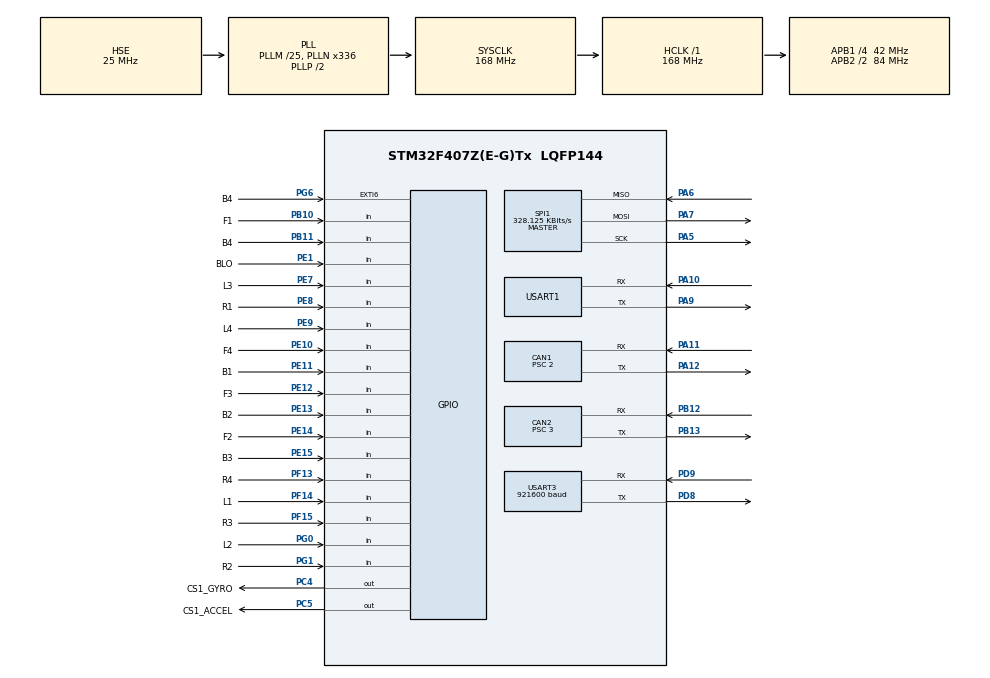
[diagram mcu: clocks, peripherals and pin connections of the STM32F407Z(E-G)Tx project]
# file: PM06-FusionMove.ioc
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CAN1.BS1=CAN_BS1_16TQ
CAN1.BS2=CAN_BS2_4TQ
CAN1.CalculateBaudRate=1000000
CAN1.CalculateTimeBit=1000
CAN1.CalculateTimeQuantum=47.61904761904762
CAN1.Prescaler=2
CAN2.ABOM=ENABLE
CAN2.BS1=CAN_BS1_12TQ
CAN2.CalculateBaudRate=1000000
CAN2.CalculateTimeBit=1000
CAN2.CalculateTimeQuantum=71.42857142857143
CAN2.Prescaler=3
Dma.Request0=USART3_RX
Dma.Request1=USART3_TX
Dma.Request2=USART1_RX
Dma.Request3=USART1_TX
Dma.USART1_RX.2.Direction=DMA_PERIPH_TO_MEMORY
Dma.USART1_RX.2.FIFOMode=DMA_FIFOMODE_DISABLE
Dma.USART1_RX.2.Instance=DMA2_Stream2
Dma.USART1_RX.2.MemDataAlignment=DMA_MDATAALIGN_BYTE
Dma.USART1_RX.2.MemInc=DMA_MINC_ENABLE
Dma.USART1_RX.2.Mode=DMA_CIRCULAR
Dma.USART1_RX.2.PeriphDataAlignment=DMA_PDATAALIGN_BYTE
Dma.USART1_RX.2.PeriphInc=DMA_PINC_DISABLE
Dma.USART1_RX.2.Priority=DMA_PRIORITY_LOW
Dma.USART1_TX.3.Direction=DMA_MEMORY_TO_PERIPH
Dma.USART1_TX.3.FIFOMode=DMA_FIFOMODE_DISABLE
Dma.USART1_TX.3.Instance=DMA2_Stream7
Dma.USART1_TX.3.MemDataAlignment=DMA_MDATAALIGN_BYTE
Dma.USART1_TX.3.MemInc=DMA_MINC_ENABLE
Dma.USART1_TX.3.Mode=DMA_NORMAL
Dma.USART1_TX.3.PeriphDataAlignment=DMA_PDATAALIGN_BYTE
Dma.USART1_TX.3.PeriphInc=DMA_PINC_DISABLE
Dma.USART1_TX.3.Priority=DMA_PRIORITY_LOW
Dma.USART3_RX.0.Direction=DMA_PERIPH_TO_MEMORY
Dma.USART3_RX.0.FIFOMode=DMA_FIFOMODE_DISABLE
Dma.USART3_RX.0.Instance=DMA1_Stream1
Dma.USART3_RX.0.MemDataAlignment=DMA_MDATAALIGN_BYTE
Dma.USART3_RX.0.MemInc=DMA_MINC_ENABLE
Dma.USART3_RX.0.Mode=DMA_NORMAL
Dma.USART3_RX.0.PeriphDataAlignment=DMA_PDATAALIGN_BYTE
Dma.USART3_RX.0.PeriphInc=DMA_PINC_DISABLE
Dma.USART3_RX.0.Priority=DMA_PRIORITY_LOW
Dma.USART3_TX.1.Direction=DMA_MEMORY_TO_PERIPH
Dma.USART3_TX.1.FIFOMode=DMA_FIFOMODE_DISABLE
Dma.USART3_TX.1.Instance=DMA1_Stream3
Dma.USART3_TX.1.MemDataAlignment=DMA_MDATAALIGN_BYTE
Dma.USART3_TX.1.MemInc=DMA_MINC_ENABLE
Dma.USART3_TX.1.Mode=DMA_NORMAL
Dma.USART3_TX.1.PeriphDataAlignment=DMA_PDATAALIGN_BYTE
Dma.USART3_TX.1.PeriphInc=DMA_PINC_DISABLE
Dma.USART3_TX.1.Priority=DMA_PRIORITY_LOW
Mcu.Family=STM32F4
Mcu.Name=STM32F407Z(E-G)Tx
Mcu.Package=LQFP144
NVIC.CAN1_RX0_IRQn=true\:0\:0\:false\:false\:true\:true\:true\:true
NVIC.CAN1_TX_IRQn=true\:0\:0\:false\:false\:true\:true\:true\:true
NVIC.CAN2_RX0_IRQn=true\:0\:0\:false\:false\:true\:true\:true\:true
NVIC.CAN2_TX_IRQn=true\:0\:0\:false\:false\:true\:true\:true\:true
NVIC.DMA1_Stream1_IRQn=true\:0\:0\:false\:false\:true\:false\:true\:true
NVIC.DMA1_Stream3_IRQn=true\:0\:0\:false\:false\:true\:false\:true\:true
NVIC.DMA2_Stream2_IRQn=true\:0\:0\:false\:false\:true\:false\:true\:true
NVIC.DMA2_Stream7_IRQn=true\:0\:0\:false\:false\:true\:false\:true\:true
NVIC.PriorityGroup=NVIC_PRIORITYGROUP_4
NVIC.TIM1_TRG_COM_TIM11_IRQn=true\:0\:0\:false\:false\:true\:true\:true\:true
NVIC.TIM1_UP_TIM10_IRQn=true\:0\:0\:false\:false\:true\:true\:true\:true
NVIC.TIM8_BRK_TIM12_IRQn=true\:0\:0\:true\:false\:true\:true\:true\:true
NVIC.TIM8_UP_TIM13_IRQn=true\:0\:0\:true\:false\:true\:true\:true\:true
NVIC.USART1_IRQn=true\:0\:0\:false\:false\:true\:true\:true\:true
NVIC.USART3_IRQn=true\:0\:0\:false\:false\:true\:true\:true\:true
PA10.Mode=Asynchronous
PA10.Signal=USART1_RX
PA11.Mode=CAN_Activate
PA11.Signal=CAN1_RX
PA12.Mode=CAN_Activate
PA12.Signal=CAN1_TX
PA13.Mode=Serial_Wire
PA13.Signal=SYS_JTMS-SWDIO
PA14.Mode=Serial_Wire
PA14.Signal=SYS_JTCK-SWCLK
PA5.Mode=Full_Duplex_Master
PA5.Signal=SPI1_SCK
PA6.Mode=Full_Duplex_Master
PA6.Signal=SPI1_MISO
PA7.Mode=Full_Duplex_Master
PA7.Signal=SPI1_MOSI
PA9.Mode=Asynchronous
PA9.Signal=USART1_TX
PB10.GPIO_Label=F1
PB10.Signal=GPIO_Input
PB11.GPIO_Label=B4
PB11.Signal=GPIO_Input
PB12.Mode=CAN_Activate
PB12.Signal=CAN2_RX
PB13.Mode=CAN_Activate
PB13.Signal=CAN2_TX
PC4.GPIO_Label=CS1_GYRO
PC4.Signal=GPIO_Output
PC5.GPIO_Label=CS1_ACCEL
PC5.Signal=GPIO_Output
PD8.Mode=Asynchronous
PD8.Signal=USART3_TX
PD9.Mode=Asynchronous
PD9.Signal=USART3_RX
PE1.GPIO_Label=BLO
PE1.GPIO_PuPd=GPIO_PULLDOWN
PE1.Signal=GPIO_Input
PE10.GPIO_Label=F4
PE10.Signal=GPIO_Input
PE11.GPIO_Label=B1
PE11.Signal=GPIO_Input
PE12.GPIO_Label=F3
PE12.Signal=GPIO_Input
PE13.GPIO_Label=B2
PE13.Signal=GPIO_Input
PE14.GPIO_Label=F2
PE14.Signal=GPIO_Input
PE15.GPIO_Label=B3
PE15.Signal=GPIO_Input
PE7.GPIO_Label=L3
PE7.Signal=GPIO_Input
PE8.GPIO_Label=R1
PE8.Signal=GPIO_Input
PE9.GPIO_Label=L4
PE9.Signal=GPIO_Input
PF13.GPIO_Label=R4
PF13.Signal=GPIO_Input
PF14.GPIO_Label=L1
PF14.Signal=GPIO_Input
PF15.GPIO_Label=R3
PF15.Signal=GPIO_Input
PG0.GPIO_Label=L2
PG0.Signal=GPIO_Input
PG1.GPIO_Label=R2
PG1.Signal=GPIO_Input
PG6.GPIO_Label=B4
PG6.Signal=GPXTI6
PH0-OSC_IN.Mode=HSE-External-Oscillator
PH0-OSC_IN.Signal=RCC_OSC_IN
PH1-OSC_OUT.Mode=HSE-External-Oscillator
PH1-OSC_OUT.Signal=RCC_OSC_OUT
ProjectManager.HeapSize=0x200
ProjectManager.StackSize=0x400
ProjectManager.TargetToolchain=MDK-ARM V5.32
RCC.48MHZClocksFreq_Value=84000000
RCC.AHBFreq_Value=168000000
RCC.APB1CLKDivider=RCC_HCLK_DIV4
RCC.APB1Freq_Value=42000000
RCC.APB1TimFreq_Value=84000000
RCC.APB2CLKDivider=RCC_HCLK_DIV2
RCC.APB2Freq_Value=84000000
RCC.APB2TimFreq_Value=168000000
RCC.CortexFreq_Value=168000000
RCC.HCLKFreq_Value=168000000
RCC.HSE_VALUE=25000000
RCC.HSI_VALUE=16000000
RCC.LSE_VALUE=32768
RCC.PLLM=25
RCC.PLLN=336
RCC.PLLSourceVirtual=RCC_PLLSOURCE_HSE
RCC.SYSCLKFreq_VALUE=168000000
RCC.SYSCLKSource=RCC_SYSCLKSOURCE_PLLCLK
RCC.VCOOutputFreq_Value=336000000
SPI1.BaudRatePrescaler=SPI_BAUDRATEPRESCALER_256
SPI1.CLKPhase=SPI_PHASE_2EDGE
SPI1.CLKPolarity=SPI_POLARITY_HIGH
SPI1.CalculateBaudRate=328.125 KBits/s
SPI1.Direction=SPI_DIRECTION_2LINES
SPI1.Mode=SPI_MODE_MASTER
SPI1.VirtualType=VM_MASTER
TIM10.Period=5000-1
TIM10.Prescaler=168-1
TIM11.Period=1000-1
TIM11.Prescaler=168-1
TIM12.Period=10000-1
TIM12.Prescaler=168-1
TIM13.Period=50000-1
TIM13.Prescaler=1680-1
TIM2.Period=1000-1
TIM2.Prescaler=168-1
USART1.VirtualMode=VM_ASYNC
USART3.BaudRate=921600
USART3.VirtualMode=VM_ASYNC
VP_TIM10_VS_ClockSourceINT.Mode=Enable_Timer
VP_TIM11_VS_ClockSourceINT.Mode=Enable_Timer
VP_TIM12_VS_ClockSourceINT.Mode=Internal
VP_TIM13_VS_ClockSourceINT.Mode=Enable_Timer
VP_TIM2_VS_ClockSourceINT.Mode=Internal
board=custom

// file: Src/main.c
/* USER CODE BEGIN Header */
/**
  ******************************************************************************
  * @file           : main.c
  * @brief          : Main program body
  ******************************************************************************
  * @attention
  *
  * Copyright (c) 2023 STMicroelectronics.
  * All rights reserved.
  *
  * This software is licensed under terms that can be found in the LICENSE file
  * in the root directory of this software component.
  * If no LICENSE file comes with this software, it is provided AS-IS.
  *
  ******************************************************************************
  */
/* USER CODE END Header */
#include "main.h"
#include "can.h"
#include "dma.h"
#include "spi.h"
#include "tim.h"
#include "usart.h"
#include "gpio.h"

/* USER CODE BEGIN Includes */
#include "motor_control.h"
#include "PosLock.h"
#include "BMI088driver.h"
#include "KalmanFilter.h"
#include "AngleLock.h"
#include "Liner.h"
#include "bsp-protocol.h"
#include "lk_bsp_can.h"
#include "MS40X.h"
#include "math.h"
#include <stdio.h>
#include <string.h>
/* USER CODE END Includes */

/* USER CODE BEGIN PD */
#define mode_flag  2 		//0:主动输出模式   1:查询输出模式    2:级联模式
#define pi 3.1415926
#define StardardSpeed 11000
#define SlowStardardSpeed 6000  //处理特殊情况时的速度
#define INIT_DEGREE 5500        //别忘了bsp-protocol里还有一样的define
/* USER CODE END PD */

/* USER CODE BEGIN PV */
int32_t set_spd = 2000;
uint8_t DirFlag=0;

float dis1,dis2,dis3,dis4=0;

uint8_t TOF_ID = 1;			//仅用作级联时更改查询命令
uint8_t u_tx_buf[8] = {0x57,0x10,0xff,0xff,0x00,0xff,0xff,0x63};  //查询命令
uint8_t u_rx_buf[400];

uint32_t TOF_data_length=0;		//DMA接收数据长度
void TOFRefresh(void);

uint8_t flag=0;
uint8_t SlowSpeedFlag = 0;
//int32_t set_spd = normspeed;
int32_t tar = 90;
fp32 gyro[3], accel[3], temp;
double yaw=0;
float timeflag=0;
EularAngle_t EularAngle ={
	.yaw=0,
	.pitch=0,
	.roll=0
};
Liner_t Liner ={
	.left=0,
	.right=0,
	.front=0,
	.back=0,
};
Speed_t Speed={
	.speedx=0,
	.speedy=0,
	.speedw=0,
};
Speed_t speedcum={
  .speedx=0,
  .speedy=0,
  .speedw=0,
};
void Front(void);
void Back(void);
void Right(void);
void Left(void);
void AdpSpeedCon(char dir);
void SpeedCumulativeRun(Speed_t *speed,Liner_t *liner,char dir);
void SlowSpeedCumulativeRun(Speed_t *speed,Liner_t *liner,char dir);
void SpeedCumulativeBreak(Speed_t *speed,Liner_t *liner,char dir,char block);
void SlowSpeedCumulativeBreak(Speed_t *speed,Liner_t *liner,char dir,char block);
void SpeedCumulativeCirCle(Speed_t *speed,char dir,char nextdir,char block);
uint32_t TOFSignalFlag(char dir);
char InvDir(char dir);
uint8_t RuntoBreakFlag(char dir);
float BreaktoChangeFlag(char dir);
char map[400];
//char map[]="F0L0B0L0F0L0F0R0F1R0B0L0R0F0L0F0R0F1L0R0B1L0F0L0F0B0R1B0L2B0F0L0B0L1F0B0L0B1R0B0F0L0F0L0B1R0L0F0R1F1L0F0R0L0B0R0F0R0F0L0F0L0B0L0B2S0";
//char map[]="F2S0";'S'
//char map[]="FLS";
//char map_temp[]={"FF00LL00BB00LL00FF00LL00FF00RR20FF00RR20BB20RR00BB00LL20LL00RR00FF00LL02FF02LL00BB02FL20SS00"};
//------------------------------------------------|1-----------------------
//1号情况
//char map[]="BB00LR20SS00SS";
//2号情况
//char map[]="RR00LF00SS00SS";
//3号情况
//char map[]="LL00FB40SS00SS";
//4号情况
//char map[]="FF60LL20RB20SS00SS";
//5号情况
//char map[]="RR00LF00SS00SS";

char *RunFrame			=	map;
char *MapFrame			=	map+1;
char *BlockFrame		=	map+2;
char *ChangeDis			=	map+3;
char *NextMapFrame	=	map+4;

uint8_t left[4]={0};
uint8_t right[4]={0};
uint8_t front[4]={0};
uint8_t back[4]={0};
uint8_t PauseBlockFlag = 0;//暂停标志位
uint32_t AskNum = 0;//停止状态计数
uint32_t InitNum = 0;//初始状态计数
uint32_t tempRoadNum = 0;
uint32_t tempRoadNumNext = 0;

typedef enum
{
	MOTION_INIT=0,
	MOTION_START,
	MOTION_RUN,
	MOTION_BREAK,
	MOTION_CIRCLE,//圆弧插补
  MOTION_CHANGE,//换向状态
  MOTION_STOP,//停止状态
	MOTION_PAUSE,//暂停状态
}MOTION_STATE;
volatile double run2offflag=0;
volatile double changeflag=0;
volatile uint32_t startspeed=0;
MOTION_STATE MotionState = MOTION_INIT;
//MOTION_STATE MotionState = MOTION_OFFSET;

uint16_t motionflag=0;
/* USER CODE END PV */

void SystemClock_Config(void);

int main(void)
{

  /* MCU Configuration--------------------------------------------------------*/

  /* Reset of all peripherals, Initializes the Flash interface and the Systick. */
  HAL_Init();

  /* Configure the system clock */
  SystemClock_Config();

  /* Initialize all configured peripherals */
  MX_GPIO_Init();
  MX_DMA_Init();
  MX_SPI1_Init();
  MX_TIM10_Init();
  MX_CAN1_Init();
  MX_TIM11_Init();
  MX_USART3_UART_Init();
  MX_TIM2_Init();
  MX_TIM12_Init();
  MX_TIM13_Init();
  MX_CAN2_Init();
  MX_USART1_UART_Init();
  /* USER CODE BEGIN 2 */

//	/**@Communication */
	CommReceiveInit();

//	/**@IMU */
	while(BMI088_init()){};

//	/**@Motor */
	motor_init_4p();

//	/**@TOFSense */
	//while(!(dis1||dis2||dis3||dis4)){};

//	/**@GreyScaleSensor */
	LineRead(&Liner);

//  /**@MS4005 */
	vApp_User_CAN_Configuration();

//	strncpy(map,map_temp,strlen(map_temp));
	__HAL_TIM_CLEAR_IT(&htim10,TIM_IT_UPDATE);
	__HAL_TIM_CLEAR_IT(&htim11,TIM_IT_UPDATE);
	__HAL_TIM_CLEAR_IT(&htim12,TIM_IT_UPDATE);
	__HAL_TIM_CLEAR_IT(&htim13,TIM_IT_UPDATE);
	HAL_TIM_Base_Start_IT(&htim10);
	HAL_TIM_Base_Start_IT(&htim11);
	HAL_Delay(3000);
	HAL_TIM_Base_Start_IT(&htim12);
	HAL_TIM_Base_Start_IT(&htim13);
	__HAL_UART_ENABLE_IT(&huart3,UART_IT_IDLE);
	PlatformConAbsAng(INIT_DEGREE);

//	MotionState=MOTION_STOP;
////转换test
//	RoadsNumUpper = 3;

//	发送test
//	CheckTreasureFlag = 1;
  /* USER CODE END 2 */

  /* Infinite loop */
  while (1)
  {

    /* USER CODE BEGIN 3 */
	  protocol_analysis();

  }
  /* USER CODE END 3 */
}

void SystemClock_Config(void)
{
  RCC_OscInitTypeDef RCC_OscInitStruct = {0};
  RCC_ClkInitTypeDef RCC_ClkInitStruct = {0};

  /** Configure the main internal regulator output voltage
  */
  __HAL_RCC_PWR_CLK_ENABLE();
  __HAL_PWR_VOLTAGESCALING_CONFIG(PWR_REGULATOR_VOLTAGE_SCALE1);

  /** Initializes the RCC Oscillators according to the specified parameters
  * in the RCC_OscInitTypeDef structure.
  */
  RCC_OscInitStruct.OscillatorType = RCC_OSCILLATORTYPE_HSE;
  RCC_OscInitStruct.HSEState = RCC_HSE_ON;
  RCC_OscInitStruct.PLL.PLLState = RCC_PLL_ON;
  RCC_OscInitStruct.PLL.PLLSource = RCC_PLLSOURCE_HSE;
  RCC_OscInitStruct.PLL.PLLM = 25;
  RCC_OscInitStruct.PLL.PLLN = 336;
  RCC_OscInitStruct.PLL.PLLP = RCC_PLLP_DIV2;
  RCC_OscInitStruct.PLL.PLLQ = 4;
  if (HAL_RCC_OscConfig(&RCC_OscInitStruct) != HAL_OK)
  {
    Error_Handler();
  }

  /** Initializes the CPU, AHB and APB buses clocks
  */
  RCC_ClkInitStruct.ClockType = RCC_CLOCKTYPE_HCLK|RCC_CLOCKTYPE_SYSCLK
                              |RCC_CLOCKTYPE_PCLK1|RCC_CLOCKTYPE_PCLK2;
  RCC_ClkInitStruct.SYSCLKSource = RCC_SYSCLKSOURCE_PLLCLK;
  RCC_ClkInitStruct.AHBCLKDivider = RCC_SYSCLK_DIV1;
  RCC_ClkInitStruct.APB1CLKDivider = RCC_HCLK_DIV4;
  RCC_ClkInitStruct.APB2CLKDivider = RCC_HCLK_DIV2;

  if (HAL_RCC_ClockConfig(&RCC_ClkInitStruct, FLASH_LATENCY_5) != HAL_OK)
  {
    Error_Handler();
  }
}

/* USER CODE BEGIN 4 */
void HAL_TIM_PeriodElapsedCallback(TIM_HandleTypeDef *htim)
{
	if(htim->Instance == TIM10)//200Hz
	{
		TOFRefresh();
	}
	if(htim->Instance == TIM11)//1000Hz
	{
		BMI088_read(gyro, accel, &temp);
		EularAngle.accel[0]=accel[0];
		EularAngle.accel[1]=accel[1];
		EularAngle.accel[2]=accel[2];
		EularAngle.gyro[0]=gyro[0];
		EularAngle.gyro[1]=gyro[1];
		EularAngle.gyro[2]=gyro[2];
		YawSolve(&EularAngle);
		if(MotionState!=MOTION_INIT) yaw=EularAngle.yaw;
		LineRead(&Liner);
	}
	if(htim->Instance == TIM12)//100Hz
	{
		// 运动状态机
    switch (MotionState)
    {
      case MOTION_INIT://起始状态
      {
        // 执行200次
        motionflag++;

        if(motionflag>200 && RoadInfoFinishFlag == 1)//路段信息接收完成
        {
					EularAngle.yaw=0;
          motionflag=0;
          MotionState=MOTION_RUN;
        }
        break;
      }
		case MOTION_START://起始状态
    {
				if(*MapFrame=='L')
				{
					if(abs(Speed.speedy)>=SlowStardardSpeed || dis4<150+185*(*BlockFrame-'0'+1))
					{
						Speed.speedx=0;
						MotionState=MOTION_RUN;
					}
					Speed.speedx=-0;
					Speed.speedy-=200;
				}
				if(*MapFrame=='R')
				{
					if(abs(Speed.speedy)>=SlowStardardSpeed || dis2<150+185*(*BlockFrame-'0'+1))
					{
						Speed.speedx=0;
						MotionState=MOTION_RUN;
					}
					Speed.speedx=-0;
					Speed.speedy+=200;
				}
				break;
    }
    case MOTION_RUN://运动状态
    {
			RoadInfoFinishFlag = 0;		//路段信息接收完成标志位归零
//			if(SlowSpeedFlag==1)
//			{
//				SlowSpeedCumulativeRun(&speedcum,&Liner,*MapFrame);
//			}
//			else
//			{
//				SpeedCumulativeRun(&speedcum,&Liner,*MapFrame);
//			}
//			Speed.speedx=speedcum.speedx;
//			Speed.speedy=speedcum.speedy;
			//下面这个值在圆弧插补中加入了状态为4的情况，mark
			if((RuntoBreakFlag(*MapFrame)==0 || RuntoBreakFlag(*MapFrame)==4 || RuntoBreakFlag(*MapFrame)==11 || RuntoBreakFlag(*MapFrame)==12 )
				)//判断是否需要刹车
			{
				MotionState=MOTION_BREAK;

			}
			break;
    }
    case MOTION_BREAK://刹车状态
    {
//			if(SlowSpeedFlag==1)
//			{
//				SlowSpeedCumulativeBreak(&speedcum,&Liner,*MapFrame,*BlockFrame);
//			}
//			else
//			{
//				SpeedCumulativeBreak(&speedcum,&Liner,*MapFrame,*BlockFrame);
//			}
			SpeedCumulativeBreak(&speedcum,&Liner,*MapFrame,*BlockFrame);
			Speed.speedx=speedcum.speedx;
			Speed.speedy=speedcum.speedy;//之前的一格现在变成两格了！记得改！
//----------------------------------------8月1日版本--------------------------------------------------------------------------------------------------
//		  if(*NextMapFrame!='S' &&
////			if(*NextMapFrame!='S' && (*BlockFrame - '0') < 4 &&
//					(RuntoBreakFlag(*MapFrame)==0 || RuntoBreakFlag(*MapFrame)==4 || RuntoBreakFlag(*MapFrame)==11 || RuntoBreakFlag(*MapFrame)==12) &&
//					BreaktoChangeFlag(*MapFrame)<125+185*(*BlockFrame-'0'+1) &&
//					BreaktoChangeFlag(*MapFrame)>25+185*(*BlockFrame-'0'+1) &&
//			(InvDir(*NextMapFrame)!=*MapFrame && *NextMapFrame!=*MapFrame))//判断是否需要换向
//			{
//				MotionState=MOTION_CIRCLE;
//			}
//			//长距直接跳过圆弧
//			if( (*NextMapFrame=='S' || ((*ChangeDis) - '0') >= 8 ) &&
////			if( (*NextMapFrame=='S' || ((*ChangeDis) - '0') >= 8 || (*BlockFrame - '0') >= 6) &&
////			if( (*NextMapFrame=='S' || ((*ChangeDis) - '0') >= 6) &&
//					(RuntoBreakFlag(*MapFrame)==0 || RuntoBreakFlag(*MapFrame)==4 || RuntoBreakFlag(*MapFrame)==11 || RuntoBreakFlag(*MapFrame)==12) &&
//					BreaktoChangeFlag(*MapFrame)<150+185*(*BlockFrame-'0'))
//			{
//				MotionState=MOTION_CHANGE;
//			}
//			//180度换向或者下一步前进时不改变方向的两种情况下直接跳过圆弧插补
//			if(*NextMapFrame!='S' &&
//				(RuntoBreakFlag(*MapFrame)==0 || RuntoBreakFlag(*MapFrame)==4 || RuntoBreakFlag(*MapFrame)==11 || RuntoBreakFlag(*MapFrame)==12) &&
//			(InvDir(*NextMapFrame)==*MapFrame || *NextMapFrame==*MapFrame) &&
//			BreaktoChangeFlag(*MapFrame)<150+185*(*BlockFrame-'0'))
//			{
//				MotionState=MOTION_CHANGE;
//			}
//----------------------------------------8月1日版本end-----------------------------------------------------------------------------------------------

//----------------------------------------长距跳过圆弧版本---------------------------------------------------------------------------------------------

			//=====================圆弧插补============================
			if(*NextMapFrame!='S' && (*BlockFrame - '0') < 6 && (*ChangeDis - '0') < 6 &&
					(RuntoBreakFlag(*MapFrame)==0 || RuntoBreakFlag(*MapFrame)==4 || RuntoBreakFlag(*MapFrame)==11 || RuntoBreakFlag(*MapFrame)==12) &&
					TOFSignalFlag(*MapFrame)>2 &&
					BreaktoChangeFlag(*MapFrame)<125+185*(*BlockFrame-'0'+1) &&
					BreaktoChangeFlag(*MapFrame)>10+185*(*BlockFrame-'0'+1) &&
					(InvDir(*NextMapFrame)!=*MapFrame && *NextMapFrame!=*MapFrame) &&
					*RunFrame == *MapFrame
				)//(排除掉撞击的情况)判断是否需要换向
			{
				SlowSpeedFlag = 0;//将慢速标志位归零
				MotionState=MOTION_CIRCLE;
			}

//			//长距直接跳过圆弧
//			if( (*NextMapFrame=='S' || ((*ChangeDis) - '0') >= 8 ) &&
////			if( (*NextMapFrame=='S' || ((*ChangeDis) - '0') >= 8 || (*BlockFrame - '0') >= 6) &&
////			if( (*NextMapFrame=='S' || ((*ChangeDis) - '0') >= 6) &&
//					(RuntoBreakFlag(*MapFrame)==0 || RuntoBreakFlag(*MapFrame)==4 || RuntoBreakFlag(*MapFrame)==11 || RuntoBreakFlag(*MapFrame)==12) &&
//					BreaktoChangeFlag(*MapFrame)<150+185*(*BlockFrame-'0'))
//			{
//				MotionState=MOTION_CHANGE;
//			}

			//===============前进方向与测距方向相反时情况===========================
			if(InvDir(*RunFrame)==*MapFrame && 																		//前进方向与测距方向相反，跳过圆弧
				*NextMapFrame!='S' &&	(*ChangeDis - '0') < 6 &&											//排除掉末尾路段情况
				(tempRoadNum != 0 || TempCrushFlag != 1) && 												//排除掉需要撞击的情况(留给下面处理)
//				(*BlockFrame - '0') < 6 &&                                    		//排除掉长距情况
				(InvDir(*NextMapFrame)!=*MapFrame && *NextMapFrame != *MapFrame) && //排除掉180度换向或者方向不变的情况
				(RuntoBreakFlag(*MapFrame)==0 || RuntoBreakFlag(*MapFrame)==4 || RuntoBreakFlag(*MapFrame)==11 || RuntoBreakFlag(*MapFrame)==12) &&
				TOFSignalFlag(*MapFrame)>2 &&
				BreaktoChangeFlag(*MapFrame)<183+185*(*BlockFrame-'0') &&
				BreaktoChangeFlag(*MapFrame)>147+185*(*BlockFrame-'0'))
			{
				SlowSpeedFlag = 0;//将慢速标志位归零
				MotionState=MOTION_CHANGE;
			}

//			//===============前进方向与测距方向相反时情况（长距）=================
//			if(InvDir(*RunFrame)==*MapFrame && 															//前进方向与测距方向相反，跳过圆弧
//				*NextMapFrame!='S' &&	(*ChangeDis - '0') < 6 &&								//排除掉末尾路段情况
//				(tempRoadNum != 0 || TempCrushFlag != 1) && 									//排除掉需要撞击的情况(留给下面处理)
//				(*BlockFrame - '0') >= 6 &&                                   //处理长距情况
//				(RuntoBreakFlag(*MapFrame)==0 || RuntoBreakFlag(*MapFrame)==4 || RuntoBreakFlag(*MapFrame)==11 || RuntoBreakFlag(*MapFrame)==12) &&
//				TOFSignalFlag(*MapFrame)>2 &&
//				BreaktoChangeFlag(*MapFrame)<168+185*(*BlockFrame-'0') &&
//				BreaktoChangeFlag(*MapFrame)>148+185*(*BlockFrame-'0'))
//			{
//				SlowSpeedFlag = 0;//将慢速标志位归零
//				MotionState=MOTION_CHANGE;
//				SlowSpeedFlag = 0;//这个标志位是为了特殊情况下减速，暂时用不上
//			}

			//=============180度换向或者方向不变时跳过圆弧插补============
			if(
				(*NextMapFrame!='S' &&
				(InvDir(*NextMapFrame)==*MapFrame || *NextMapFrame==*MapFrame)
				) && //上面是跳过圆弧的情况
				*RunFrame != *MapFrame &&
				(tempRoadNum != 0 || TempCrushFlag != 1) && //排除掉需要撞击的情况(留给下面处理)
				(RuntoBreakFlag(*MapFrame)==0 || RuntoBreakFlag(*MapFrame)==4 || RuntoBreakFlag(*MapFrame)==11 || RuntoBreakFlag(*MapFrame)==12) &&
				TOFSignalFlag(*MapFrame)>2 &&
				BreaktoChangeFlag(*MapFrame)<166+185*(*BlockFrame-'0') &&
				BreaktoChangeFlag(*MapFrame)>144+185*(*BlockFrame-'0'))
			{
				SlowSpeedFlag = 0;//将慢速标志位归零
				MotionState=MOTION_CHANGE;
			}

			//===============测距距离超过阈值时跳过圆弧插补=============
			if(
				(*NextMapFrame!='S' && 																						//排除掉末尾路段的情况
				(tempRoadNum != 0 || TempCrushFlag != 1) && 											//排除掉需要撞击的情况(留给下面处理)
				(InvDir(*NextMapFrame)!=*MapFrame && *NextMapFrame!=*MapFrame)&&	//排除掉180换向或者方向不变的情况
				InvDir(*RunFrame)!=*MapFrame &&																		//排除掉前进与测距方向反向的情况
				(*ChangeDis - '0') < 6) &&																				//排除掉弧距过长的情况
																																				//上面是跳过圆弧的情况
				(*BlockFrame - '0') >= 6 &&
				(RuntoBreakFlag(*MapFrame)==0 || RuntoBreakFlag(*MapFrame)==4 || RuntoBreakFlag(*MapFrame)==11 || RuntoBreakFlag(*MapFrame)==12) &&
				TOFSignalFlag(*MapFrame)>0 &&
				BreaktoChangeFlag(*MapFrame)>129+185*(*BlockFrame-'0') &&
				BreaktoChangeFlag(*MapFrame)<154+185*(*BlockFrame-'0'))  //这个阈值需要单独调
			{
				SlowSpeedFlag = 0;//将慢速标志位归零
				MotionState=MOTION_CHANGE;
				SlowSpeedFlag = 0;//这个标志位是为了特殊情况下减速
			}

			//==================处理末尾路段情况========================
			//三种情况：
			//1.末尾路段不动，只是为了转向；
			//2.末尾路段前进，前进方向和测距方向反向；
			//3.到达终点，前进方向和测距方向反向。
			if(*NextMapFrame=='S' && (*ChangeDis - '0') < 6 &&
				(RuntoBreakFlag(*MapFrame)==0 || RuntoBreakFlag(*MapFrame)==4 || RuntoBreakFlag(*MapFrame)==11 || RuntoBreakFlag(*MapFrame)==12) &&
				TOFSignalFlag(*MapFrame)>2 &&
				BreaktoChangeFlag(*MapFrame)<156+185*(*BlockFrame-'0') &&
				BreaktoChangeFlag(*MapFrame)>132+185*(*BlockFrame-'0')
				)
			{
				SlowSpeedFlag = 0;//将慢速标志位归零
				MotionState=MOTION_CHANGE;
			}

			//===================处理撞击的情况=========================
			if((tempRoadNum == 0 && TempCrushFlag == 1) &&  //处理撞击情况：已经改成直接处理撞击标志位（之前的处理方式是下一帧前进方向和这一帧测距方向相同）
				(*ChangeDis - '0') < 6 &&
				(RuntoBreakFlag(*MapFrame)==0 || RuntoBreakFlag(*MapFrame)==4 || RuntoBreakFlag(*MapFrame)==11 || RuntoBreakFlag(*MapFrame)==12) &&
				TOFSignalFlag(*MapFrame)>2 &&
				BreaktoChangeFlag(*MapFrame)<170+185*(*BlockFrame-'0') &&
				BreaktoChangeFlag(*MapFrame)>135+185*(*BlockFrame-'0')
			)
			{
				SlowSpeedFlag = 0;//将慢速标志位归零
				MotionState=MOTION_CHANGE;
			}

			//===================处理弧距过长的问题=====================
			if(
				((*ChangeDis - '0') >= 6) &&
			(RuntoBreakFlag(*MapFrame)==0 || RuntoBreakFlag(*MapFrame)==4 || RuntoBreakFlag(*MapFrame)==11 || RuntoBreakFlag(*MapFrame)==12) &&
			TOFSignalFlag(*MapFrame)>2 &&
			(InvDir(*NextMapFrame)!=*MapFrame && *NextMapFrame!=*MapFrame) &&
			BreaktoChangeFlag(*MapFrame)<153+185*(*BlockFrame-'0') &&  //可能要改阈值 稍微改大一点
			BreaktoChangeFlag(*MapFrame)>135+185*(*BlockFrame-'0')
			)
			{
				SlowSpeedFlag = 0;//将慢速标志位归零
				MotionState=MOTION_CHANGE;

			}

			//==============处理仅仅转向的情况===========================
			if(*MapFrame == 'S') MotionState=MOTION_CHANGE;

//----------------------------------------长距跳过圆弧版本end---------------------------------------------------------------------------------------
			break;
    }
			case MOTION_CIRCLE://圆弧插补
			{
				SpeedCumulativeCirCle(&speedcum,*MapFrame,*NextMapFrame,*BlockFrame);
				Speed.speedx=speedcum.speedx;
				Speed.speedy=speedcum.speedy;
				if(	(RuntoBreakFlag(*NextMapFrame)==0 || RuntoBreakFlag(*NextMapFrame)==4 || RuntoBreakFlag(*NextMapFrame)==11 || RuntoBreakFlag(*NextMapFrame)==12) &&
						TOFSignalFlag(*MapFrame)>5 &&
						BreaktoChangeFlag(InvDir(*NextMapFrame))>75+185*(*ChangeDis-'0'+1) &&
						BreaktoChangeFlag(InvDir(*NextMapFrame))<175+185*(*ChangeDis-'0'+1))//判断是否需要换向
				{
					MotionState=MOTION_CHANGE;
				}
				//180度换向或者下一步前进时不改变方向的两种情况下直接跳过圆弧插补
				if(InvDir(*NextMapFrame)==*MapFrame || *NextMapFrame==*MapFrame || *RunFrame!=*MapFrame)//180度换向直接跳过圆弧插补
				{
					MotionState=MOTION_CHANGE;
				}
				break;
			}
      case MOTION_CHANGE://换向状态
      {

				if(*NextMapFrame=='S' || *MapFrame == 'S')
				{
					MotionState=MOTION_STOP;
					//摄像头拍照云台转向
//					if			 	(CameraDirPro == 0)		PlatformConAbsAng(INIT_DEGREE);					//测距方向是前，摄像头转向后方
//					else if 	(CameraDirPro == 1)		PlatformConAbsAng(INIT_DEGREE + 9000);	//测距方向是左，摄像头转向右方
//					else if	 	(CameraDirPro == 2)		PlatformConAbsAng(INIT_DEGREE - 18000);	//测距方向是后，摄像头转向前方
//					else if	 	(CameraDirPro == 3)		PlatformConAbsAng(INIT_DEGREE - 9000);  //测距方向是右，摄像头转向左方

				}
				else if(tempRoadNum == 0 && TempCrushFlag == 1)  //改成了直接检测撞击标志位
				{
					Speed.speedx=0;
					Speed.speedy=0;
					MotionState=MOTION_RUN;
				}
				else MotionState=MOTION_RUN;
				TempCrushFlag = 0;
				tempRoadNum++;      //路段计数递增
//================================宝藏解析标志轮换==================================
				if			(RoadInfoUpper[0][tempRoadNum] == 0) *RunFrame = 'F';
				else if	(RoadInfoUpper[0][tempRoadNum] == 1) *RunFrame = 'L';
				else if	(RoadInfoUpper[0][tempRoadNum] == 2) *RunFrame = 'B';
				else if	(RoadInfoUpper[0][tempRoadNum] == 3) *RunFrame = 'R';
				else if	(RoadInfoUpper[0][tempRoadNum] == 4) *RunFrame = 'S';

				if			(RoadInfoUpper[1][tempRoadNum] == 0) *MapFrame = 'F';
				else if	(RoadInfoUpper[1][tempRoadNum] == 1) *MapFrame = 'L';
				else if	(RoadInfoUpper[1][tempRoadNum] == 2) *MapFrame = 'B';
				else if	(RoadInfoUpper[1][tempRoadNum] == 3) *MapFrame = 'R';
				else if	(RoadInfoUpper[1][tempRoadNum] == 4) *MapFrame = 'S';

				*BlockFrame				= RoadInfoUpper[2][tempRoadNum] + '0';
				*ChangeDis				= RoadInfoUpper[3][tempRoadNum] + '0';

				if			(RoadInfoUpper[0][tempRoadNum + 1] == 0) *NextMapFrame = 'F';
				else if	(RoadInfoUpper[0][tempRoadNum + 1] == 1) *NextMapFrame = 'L';
				else if	(RoadInfoUpper[0][tempRoadNum + 1] == 2) *NextMapFrame = 'B';
				else if	(RoadInfoUpper[0][tempRoadNum + 1] == 3) *NextMapFrame = 'R';
				else if	(RoadInfoUpper[0][tempRoadNum + 1] == 4) *NextMapFrame = 'S';
//================================宝藏解析标志轮换end================================

//==============================云台随测距方向转向===================================
//				if 			(*MapFrame == 'F')	PlatformConAbsAng(INIT_DEGREE + 18000);    //记得在协议解析的地方也有摄像头转向
//				else if (*MapFrame == 'L')	PlatformConAbsAng(INIT_DEGREE - 9000);
//				else if (*MapFrame == 'B')	PlatformConAbsAng(INIT_DEGREE);
//				else if (*MapFrame == 'R')	PlatformConAbsAng(INIT_DEGREE + 9000);
//==============================云台随测距方向转向end===================================
				break;
      }
      case MOTION_STOP://停止状态
      {
        Speed.speedx=0;
        Speed.speedy=0;

//        云台转向程序
//				if(AskNum == 1)
//				{
//					if			 	(RoadInfoUpper[1][RoadsNumUpper - 1] == 0)		PlatformConAbsAng(INIT_DEGREE);					//测距方向是前，摄像头转向后方
//					else if 	(RoadInfoUpper[1][RoadsNumUpper - 1] == 1)		PlatformConAbsAng(INIT_DEGREE + 9000);	//测距方向是左，摄像头转向右方
//					else if	 	(RoadInfoUpper[1][RoadsNumUpper - 1] == 2)		PlatformConAbsAng(INIT_DEGREE + 18000);	//测距方向是后，摄像头转向前方
//					else if	 	(RoadInfoUpper[1][RoadsNumUpper - 1] == 3)		PlatformConAbsAng(INIT_DEGREE - 9000);  //测距方向是右，摄像头转向左方
//				}

				if(AskNum == 1)
				{
					CheckTreasureFlag = 1;//当每条路径第====三十====次进入STOP状态时请求检测宝藏(接收到回复后标志位会清零)
				}
				AskNum++;							  //防止反复请求检测

				if(RoadInfoFinishFlag == 1)//路段信息接收完成
				{
//					RunFrame			= map;
//					MapFrame			=	map+1;				//地图帧中的四位数据都从头调用字符串
//					BlockFrame		=	map+2;
//					ChangeDis			=	map+3;
//					NextMapFrame	=	map+4;
					tempRoadNum 	= 0;        //路段计数归零
					MotionState=MOTION_RUN;		//调换到开始状态
					AskNum = 0;				      	//进入STOP状态计数归零，准备下一次宝藏检测请求                        。。。再不能用就亖了
				}
				break;
      }
			case MOTION_PAUSE://暂停状态
			{
				Speed.speedx=0;
        Speed.speedy=0;
				if(HAL_GPIO_ReadPin(BLO_GPIO_Port, BLO_Pin) == 0)
				{
					MotionState=MOTION_RUN;
					PauseBlockFlag = 0;
				}

			}
    }
		if(MotionState!=MOTION_INIT) Speed.speedw=-Ang_PID_Absolute(fmod(yaw,360),0);
		else  Speed.speedw=0;
		if(PauseBlockFlag == 0)
		{
			if(HAL_GPIO_ReadPin(BLO_GPIO_Port, BLO_Pin) == 1)
			{
				MotionState=MOTION_PAUSE;
				PauseBlockFlag = 1;
			}
		}
		M2006_motion_vector(Speed.speedx,Speed.speedy,Speed.speedw);
	}

	if (htim->Instance == TIM13)
	{
	sendUART();
	}
}

void SpeedCumulativeRun(Speed_t *speed,Liner_t *liner,char dir)
{
  switch(dir){
    case 'F':{
      speed->speedx=StardardSpeed;
      speed->speedy=SpeedOffset(liner->front);
      break;
    }case 'B':{
      speed->speedx=-StardardSpeed;
      speed->speedy=-SpeedOffset(liner->back);
      break;
    }case 'L':{
      speed->speedx=SpeedOffset(liner->left);
      speed->speedy=-StardardSpeed;
      break;
    }case 'R':{
      speed->speedx=-SpeedOffset(liner->right);
      speed->speedy=StardardSpeed;
      break;
    }
  }
}

void SlowSpeedCumulativeRun(Speed_t *speed,Liner_t *liner,char dir)
{
  switch(dir){
    case 'F':{
      speed->speedx=SlowStardardSpeed;
      speed->speedy=SpeedOffset(liner->front);
			//speed->speedy=0;
      break;
    }case 'B':{
      speed->speedx=-SlowStardardSpeed;
      speed->speedy=-SpeedOffset(liner->back);
			//speed->speedy=0;
      break;
    }case 'L':{
      speed->speedx=SpeedOffset(liner->left);
      speed->speedy=-SlowStardardSpeed;
			//speed->speedx=0;
      break;
    }case 'R':{
      speed->speedx=-SpeedOffset(liner->right);
      speed->speedy=SlowStardardSpeed;
			//speed->speedx=0;
      break;
    }
  }
}

void SpeedCumulativeBreak(Speed_t *speed,Liner_t *liner,char dir,char block){
	int i=block-'0';
    switch(dir){
    case 'F':{
      speed->speedx=Pos_PID_Absolute(dis1,150+185*i);
      speed->speedy=SpeedOffset(liner->front);
			break;
    }case 'B':{
      speed->speedx=-Pos_PID_Absolute(dis3,150+185*i);
      speed->speedy=-SpeedOffset(liner->back);
			break;
    }case 'L':{
      speed->speedx=SpeedOffset(liner->left);
      speed->speedy=-Pos_PID_Absolute(dis4,150+185*i);
			break;
    }case 'R':{
      speed->speedx=-SpeedOffset(liner->right);
      speed->speedy=Pos_PID_Absolute(dis2,150+185*i);
			break;
    }
  }
}

void SlowSpeedCumulativeBreak(Speed_t *speed,Liner_t *liner,char dir,char block){
	int i=block-'0';
    switch(dir){
    case 'F':{
      speed->speedx=Slow_Pos_PID_Absolute(dis1,150+185*i);
      speed->speedy=SpeedOffset(liner->front);
			//speed->speedy=0;
			break;
    }case 'B':{
      speed->speedx=-Slow_Pos_PID_Absolute(dis3,150+185*i);
      speed->speedy=-SpeedOffset(liner->back);
			//speed->speedy=0;
			break;
    }case 'L':{
      speed->speedx=SpeedOffset(liner->left);
      speed->speedy=-Slow_Pos_PID_Absolute(dis4,150+185*i);
			//speed->speedx=0;
			break;
    }case 'R':{
      speed->speedx=-SpeedOffset(liner->right);
      speed->speedy=Slow_Pos_PID_Absolute(dis2,150+185*i);
			//speed->speedx=0;
			break;
    }
  }
}

void SpeedCumulativeCirCle(Speed_t *speed,char dir,char nextdir,char block)
{
	int i=block-'0';
	double changespeed=7000.0;
  switch(dir){
    case 'F':{
      speed->speedx=Pos_PID_Absolute(dis1,150+185*i);
      if(nextdir=='L'&&abs(speed->speedx)<=changespeed) speed->speedy=-(changespeed-abs(speed->speedx));
			if(nextdir=='R'&&abs(speed->speedx)<=changespeed) speed->speedy=+(changespeed-abs(speed->speedx));
			if(nextdir=='S') speed->speedy=0;
			break;
    }case 'B':{
      speed->speedx=-Pos_PID_Absolute(dis3,150+185*i);
      if(nextdir=='L'&&abs(speed->speedx)<=changespeed) speed->speedy=-(changespeed-abs(speed->speedx));
      if(nextdir=='R'&&abs(speed->speedx)<=changespeed) speed->speedy=+(changespeed-abs(speed->speedx));
      if(nextdir=='S') speed->speedy=0;
      break;
    }case 'L':{
      speed->speedy=-Pos_PID_Absolute(dis4,150+185*i);
      if(nextdir=='F'&&abs(speed->speedy)<=changespeed) speed->speedx=+(changespeed-abs(speed->speedy));
      if(nextdir=='B'&&abs(speed->speedy)<=changespeed) speed->speedx=-(changespeed-abs(speed->speedy));
      if(nextdir=='S') speed->speedx=0;
      break;
    }case 'R':{
      speed->speedy=Pos_PID_Absolute(dis2,150+185*i);
      if(nextdir=='F'&&abs(speed->speedy)<=changespeed) speed->speedx=+(changespeed-abs(speed->speedy));
      if(nextdir=='B'&&abs(speed->speedy)<=changespeed) speed->speedx=-(changespeed-abs(speed->speedy));
      if(nextdir=='S') speed->speedx=0;
      break;
    }
	}
}

uint8_t RuntoBreakFlag(char dir){
  if (dir=='F') return status1;
  if (dir=='B') return status3;
  if (dir=='L') return status4;
  if (dir=='R') return status2;
  return 1;
}

uint32_t TOFSignalFlag(char dir){
	if (dir=='F') return sig1;
  if (dir=='B') return sig3;
  if (dir=='L') return sig4;
  if (dir=='R') return sig2;
	return 1;

}

float BreaktoChangeFlag(char dir){
  if (dir=='F') return dis1;
  if (dir=='B') return dis3;
  if (dir=='L') return dis4;
  if (dir=='R') return dis2;
  return 0;
}

char InvDir(char dir)
{
	if(dir=='F') return 'B';
	if(dir=='B') return 'F';
	if(dir=='L') return 'R';
	if(dir=='R') return 'L';
	if(dir=='S') return 'S';
	return 0;
}
void TOFRefresh(void){
	if(mode_flag == 0)													//主动输出模式
	{
	}
	else if(mode_flag == 1)												//查询输出模式
	{
		HAL_UART_Transmit_DMA(&huart3,u_tx_buf,sizeof(u_tx_buf));
		HAL_Delay(5);
	}
	else if(mode_flag == 2)												//级联模式
	{
		HAL_UART_Transmit_DMA(&huart3,u_tx_buf,sizeof(u_tx_buf));
//		HAL_Delay(5);

		TOF_ID++;
		if(TOF_ID >= 5)
		{
			TOF_ID = 1;
		}
		u_tx_buf[4] = TOF_ID;										//更新ID
		u_tx_buf[7] = TOF_ID + 0x63;								//更新校验和
	}
}
/* USER CODE END 4 */

void Error_Handler(void)
{
  __disable_irq();
  while (1)
  {
  }
}
